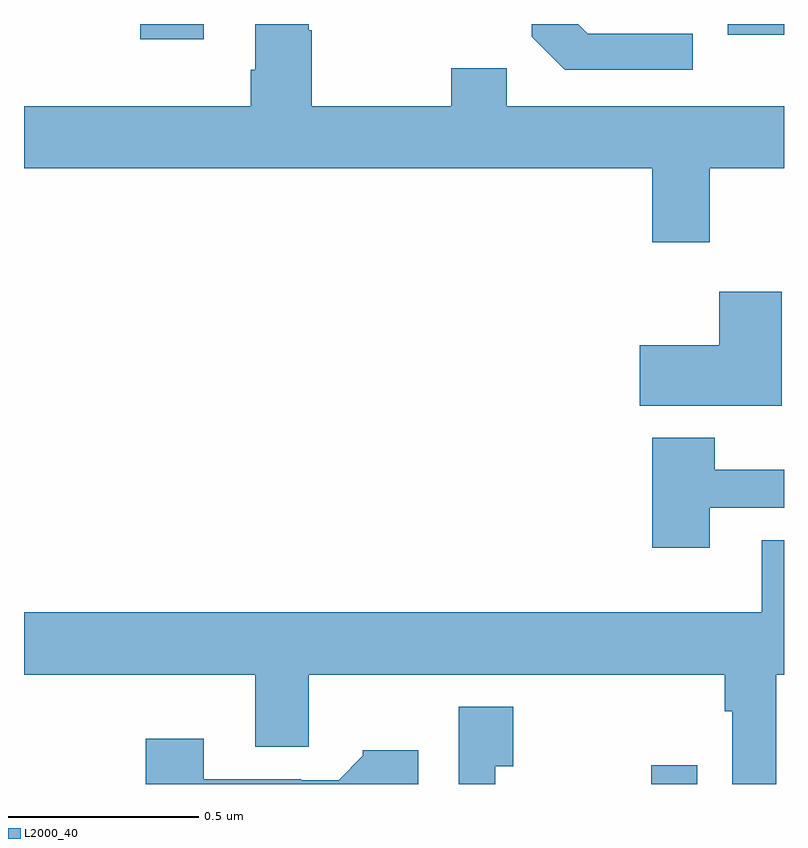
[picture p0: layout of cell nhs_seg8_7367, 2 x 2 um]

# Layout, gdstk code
import gdstk
lib = gdstk.Library(unit=1e-6, precision=1e-09)
def R(c, l, rs):  # rectangles x0, y0, x1, y1
    for r in rs: c.add(gdstk.rectangle(r[:2], r[2:], *l))
def P(c, l, *ps):  # polygons
    for p in ps: c.add(gdstk.Polygon(p, *l))
L2000_40 = (2000, 40)

nhs_seg8_7367 = lib.new_cell('nhs_seg8_7367')
R(nhs_seg8_7367, L2000_40, [(210.65,1094.9,210.772,1094.95), (209.306,1096.86,209.473,1096.9), (210.852,1096.872,211,1096.9)])
P(nhs_seg8_7367, L2000_40, [(210.805,1096.52),(211,1096.52),(211,1096.684),(210.27,1096.684),(210.27,1096.783),(210.124,1096.783),(210.124,1096.684),(209.757,1096.684),(209.757,1096.883),(209.749,1096.883),(209.749,1096.9),(209.609,1096.9),(209.609,1096.78),(209.597,1096.78),(209.597,1096.684),(209,1096.684),(209,1096.52),(210.653,1096.52),(210.653,1096.326),(210.805,1096.326)],
  [(210.76,1096.875),(210.483,1096.875),(210.458,1096.9),(210.336,1096.9),(210.336,1096.866),(210.423,1096.779),(210.76,1096.779)],
  [(210.994,1096.195),(210.83,1096.195),(210.83,1096.054),(210.621,1096.054),(210.621,1095.896),(210.994,1095.896)],
  [(210.805,1095.627),(211,1095.627),(211,1095.727),(210.818,1095.727),(210.818,1095.811),(210.653,1095.811),(210.653,1095.522),(210.805,1095.522)],
  [(210.98,1095.188),(211,1095.188),(211,1095.542),(210.941,1095.542),(210.941,1095.352),(209,1095.352),(209,1095.188),(209.609,1095.188),(209.609,1094.998),(209.749,1094.998),(209.749,1095.188),(210.844,1095.188),(210.844,1095.092),(210.864,1095.092),(210.864,1094.9),(210.98,1094.9)],
  [(210.24,1094.947),(210.288,1094.947),(210.288,1095.103),(210.144,1095.103),(210.144,1094.9),(210.24,1094.9)],
  [(210.037,1094.989),(209.892,1094.989),(209.892,1094.974),(209.828,1094.91),(209.729,1094.91),(209.729,1094.913),(209.473,1094.913),(209.473,1095.019),(209.321,1095.019),(209.321,1094.9),(210.037,1094.9)])

lib.write_gds('nhs_seg8_7367.gds')
